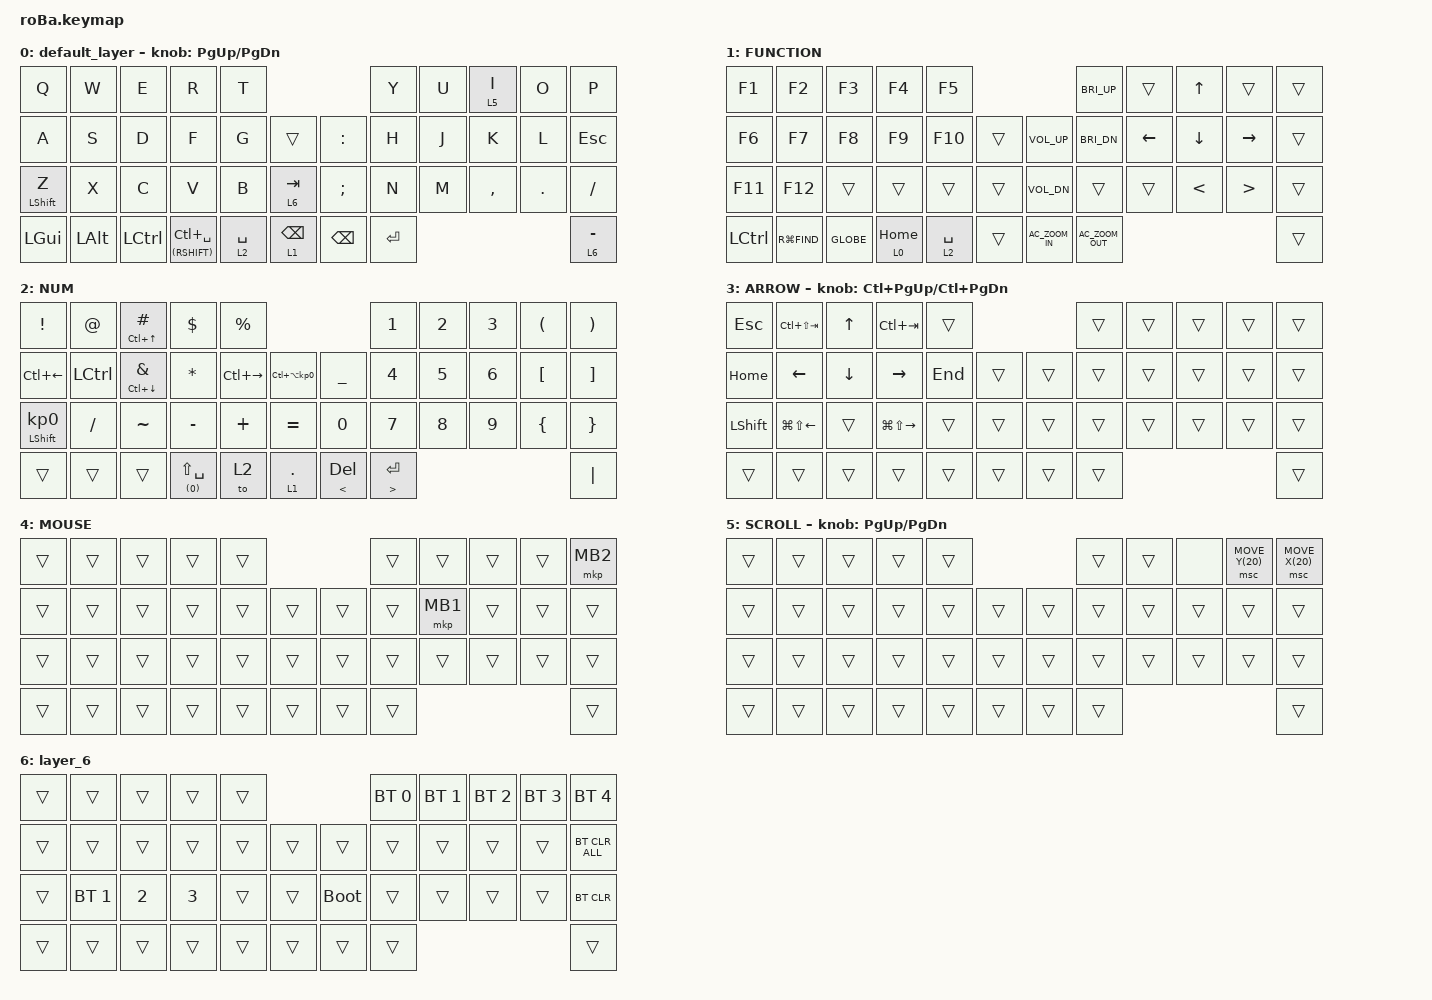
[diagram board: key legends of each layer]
#include <behaviors.dtsi>
#include <dt-bindings/zmk/bt.h>
#include <dt-bindings/zmk/keys.h>
#include <dt-bindings/zmk/pointing.h>

&mt {
    flavor = "balanced";
    quick-tap-ms = <0>;
};

&trackball {
    automouse-layer = <4>;
    scroll-layers = <5>;

    // arrows {
    //     layers = <3>;
    //     bindings =
    //         <&kp RIGHT_ARROW>,
    //         <&kp LEFT_ARROW>,
    //         <&kp UP_ARROW>,
    //         <&kp DOWN_ARROW>;
    //     tick = <10>;
    //     wait-ms = <5>;
    //     tap-ms = <5>;
    // };
};

/ {
    combos {
        compatible = "zmk,combos";

        tab {
            bindings = <&kp TAB>;
            key-positions = <11 12>;
        };

        shift_tab {
            bindings = <&kp LS(TAB)>;
            key-positions = <12 13>;
        };

        muhennkann {
            bindings = <&to_layer_0 INT_MUHENKAN>;
            key-positions = <11 10>;
        };

        double_quotation {
            bindings = <&kp DOUBLE_QUOTES>;
            key-positions = <20 21>;
        };

        eq {
            bindings = <&kp EQUAL>;
            key-positions = <24 25>;
        };
    };

    macros {
        to_layer_0: to_layer_0 {
            compatible = "zmk,behavior-macro-one-param";
            #binding-cells = <1>;
            bindings = <&to 0 &macro_param_1to1 &kp MACRO_PLACEHOLDER>;
            label = "TO_LAYER_0";
        };
    };

    behaviors {
        lt_to_layer_0: lt_to_layer_0 {
            compatible = "zmk,behavior-hold-tap";
            label = "LAYER_TAP_TO_0";
            bindings = <&mo>, <&to_layer_0>;

            #binding-cells = <2>;
            tapping-term-ms = <200>;
        };
    };

    keymap {
        compatible = "zmk,keymap";

        default_layer {
            bindings = <
&kp Q             &kp W         &kp E             &kp R                   &kp T                                            &kp Y      &kp U  &lt 5 I    &kp O    &kp P
&kp A             &kp S         &kp D             &kp F                   &kp G        &trans               &kp COLON      &kp H      &kp J  &kp K      &kp L    &kp ESC
&mt LEFT_SHIFT Z  &kp X         &kp C             &kp V                   &kp B        &lt 6 TAB            &kp SEMICOLON  &kp N      &kp M  &kp COMMA  &kp DOT  &kp SLASH
&kp LEFT_GUI      &kp LEFT_ALT  &kp LEFT_CONTROL  &mt (RSHIFT) LC(SPACE)  &lt 2 SPACE  &lt 1 BACKSPACE      &kp BACKSPACE  &kp ENTER                             &lt 6 MINUS
            >;

            sensor-bindings = <&inc_dec_kp PG_UP PAGE_DOWN>;
        };

        FUNCTION {
            bindings = <
&kp F1            &kp F2          &kp F3     &kp F4      &kp F5                                     &kp C_BRI_UP       &trans          &kp UP_ARROW    &trans            &trans
&kp F6            &kp F7          &kp F8     &kp F9      &kp F10      &trans      &kp C_VOL_UP      &kp C_BRI_DN       &kp LEFT_ARROW  &kp DOWN_ARROW  &kp RIGHT_ARROW   &trans
&kp F11           &kp F12         &trans     &trans      &trans       &trans      &kp C_VOL_DN      &trans             &trans          &kp LESS_THAN   &kp GREATER_THAN  &trans
&kp LEFT_CONTROL  &kp RG(K_FIND)  &kp GLOBE  &lt 0 HOME  &lt 2 SPACE  &trans      &kp C_AC_ZOOM_IN  &kp C_AC_ZOOM_OUT                                                    &trans
            >;
        };

        NUM {
            bindings = <
&kp EXCLAMATION             &kp AT_SIGN  &mt LC(UP_ARROW) HASH   &kp DOLLAR         &kp PERCENT                                                       &kp NUMBER_1            &kp NUMBER_2  &kp NUMBER_3  &kp LEFT_PARENTHESIS  &kp RIGHT_PARENTHESIS
&kp LC(LEFT)                &kp LCTRL    &mt LC(DOWN) AMPERSAND  &kp ASTERISK       &kp LC(RIGHT)  &kp LC(LA(KP_NUMBER_0))      &kp UNDERSCORE        &kp NUMBER_4            &kp NUMBER_5  &kp NUMBER_6  &kp LEFT_BRACKET      &kp RIGHT_BRACKET
&mt LEFT_SHIFT KP_NUMBER_0  &kp SLASH    &kp TILDE               &kp MINUS          &kp PLUS       &kp EQUAL                    &kp N0                &kp NUMBER_7            &kp NUMBER_8  &kp NUMBER_9  &kp LEFT_BRACE        &kp RIGHT_BRACE
&trans                      &trans       &trans                  &lt (0) LS(SPACE)  &to 2          &lt 1 PERIOD                 &mt LESS_THAN DELETE  &mt GREATER_THAN ENTER                                                    &kp PIPE
            >;
        };

        ARROW {
            bindings = <
&kp ESCAPE      &kp LC(LS(TAB))         &kp UP_ARROW    &kp LC(TAB)              &trans                       &trans  &trans  &trans  &trans  &trans
&kp HOME        &kp LEFT_ARROW          &kp DOWN_ARROW  &kp RIGHT_ARROW          &kp END  &trans      &trans  &trans  &trans  &trans  &trans  &trans
&kp LEFT_SHIFT  &kp LG(LS(LEFT_ARROW))  &trans          &kp LG(LS(RIGHT_ARROW))  &trans   &trans      &trans  &trans  &trans  &trans  &trans  &trans
&trans          &trans                  &trans          &trans                   &trans   &trans      &trans  &trans                          &trans
            >;

            sensor-bindings = <&inc_dec_kp LC(PAGE_UP) LC(PAGE_DOWN)>;
        };

        MOUSE {
            bindings = <
&trans  &trans  &trans  &trans  &trans                      &trans  &trans    &trans  &trans  &mkp MB2
&trans  &trans  &trans  &trans  &trans  &trans      &trans  &trans  &mkp MB1  &trans  &trans  &trans
&trans  &trans  &trans  &trans  &trans  &trans      &trans  &trans  &trans    &trans  &trans  &trans
&trans  &trans  &trans  &trans  &trans  &trans      &trans  &trans                            &trans
            >;
        };

        SCROLL {
            bindings = <
&trans  &trans  &trans  &trans  &trans                      &trans  &trans  &none   &msc MOVE_Y(20)  &msc MOVE_X(20)
&trans  &trans  &trans  &trans  &trans  &trans      &trans  &trans  &trans  &trans  &trans           &trans
&trans  &trans  &trans  &trans  &trans  &trans      &trans  &trans  &trans  &trans  &trans           &trans
&trans  &trans  &trans  &trans  &trans  &trans      &trans  &trans                                   &trans
            >;

            sensor-bindings = <&inc_dec_kp PG_UP PG_DN>;
        };

        layer_6 {
            bindings = <
&trans  &trans        &trans        &trans        &trans                           &bt BT_SEL 0  &bt BT_SEL 1  &bt BT_SEL 2  &bt BT_SEL 3  &bt BT_SEL 4
&trans  &trans        &trans        &trans        &trans  &trans      &trans       &trans        &trans        &trans        &trans        &bt BT_CLR_ALL
&trans  &bt BT_SEL 1  &kp NUMBER_2  &kp NUMBER_3  &trans  &trans      &bootloader  &trans        &trans        &trans        &trans        &bt BT_CLR
&trans  &trans        &trans        &trans        &trans  &trans      &trans       &trans                                                  &trans
            >;
        };
    };
};
